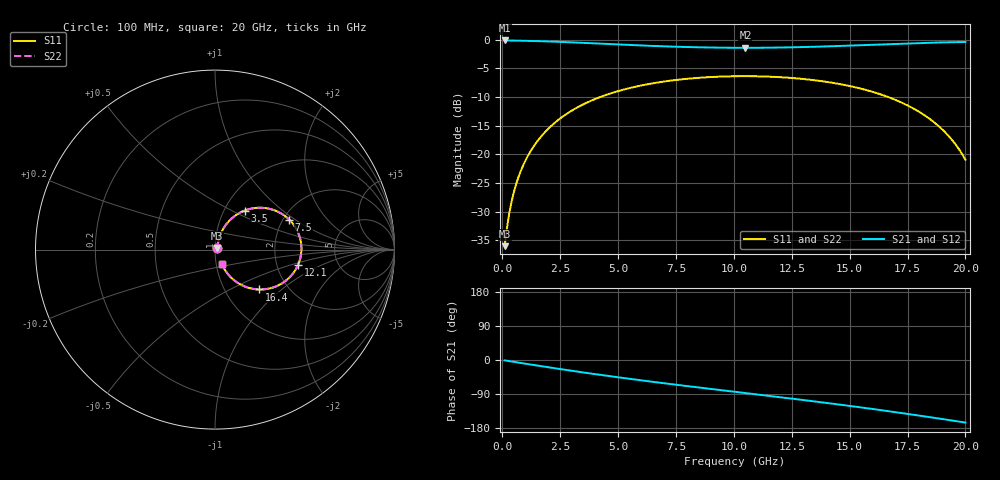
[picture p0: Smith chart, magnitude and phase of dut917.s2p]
! Touchstone file exported from HFSS 2026.1.0
!  File:  C:/ffzhzh/LocalFiles/Ansys_Project_Files/temp_train_TSV_RDL_917_1783278769_5512.aedt
!  Generated:  03:24:52 AM Jul  6, 2026
!  Design:  TSV_RDL
!  Project:  temp_train_TSV_RDL_917_1783278769_5512
! Variables:
!  h_bsmrdl = 2.79um
!  h_ox = 20um
!  h_rdl = 5um
!  h_sub = 92.21um
!  h_tmrdl = 5.35um
!  h_tsv = 92.21um
!  h_via = 3um
!  l_bsmrdl = 102.18um
!  l_sub = 2629.44um
!  l_tmrdl = 458.63um
!  m_sub = 200um
!  pitch = 40.13um
!  r_tsv = 6.35um
!  s_tmrdl = 10um
!  w_bsmrdl = 11.91um
!  w_sub = 500um
!  w_tmrdl = 17.55um
!  x_tsv_center1 = 467.405um
!  x_tsv_center2 = 581.495um
!  x_tsv_center3 = 1057.675um
!  x_tsv_center4 = 1171.765um
!  x_tsv_center5 = 1647.945um
!  x_tsv_center6 = 1762.035um
# GHz S MA R 50.000000
! Terminal data exported
! Port[1] = TM_RDL1_1_T1
! Port[2] = TM_RDL5_1_T1
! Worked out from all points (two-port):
!   200 points, 100 MHz to 20 GHz, reference 50 ohm
!   highest |S21| = -0.11 dB at 100 MHz (marker M1); lowest = -1.4 dB at 10.5 GHz (marker M2)
!   |S21| within 3 dB of the highest: start of sweep to end of sweep
!   lowest |S11| = -36.0 dB at 100 MHz (marker M3), VSWR 1.03, Z = 51.3 + j0.932 ohm
!   |S11| at or under -10 dB: start of sweep to 4.222 GHz; 16.67 GHz to end of sweep
!   |S22| runs from -36.0 to -6.3 dB; largest |S21 - S12| = 3.3e-13
!   S11 on the Smith chart (normalised r, x): 100 MHz: 1.03, +0.02; 3.5 GHz: 1.24, +0.59; 7.5 GHz: 2.16, +0.90; 12.1 GHz: 2.63, -0.57; 16.4 GHz: 1.44, -0.72; 20 GHz: 1.06, -0.17
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0.1  0.01578 35.2  0.9872 -1.0  0.9872 -1.0  0.01578 35.2
! Gamma 0 0 0 0
! Port Impedance 50 0 50 0
0.3  0.03047 60.6  0.9861 -3.0  0.9861 -3.0  0.03047 60.6
0.5  0.04682 67.3  0.9846 -5.0  0.9846 -5.0  0.04682 67.3
0.8  0.07168 70.0  0.9822 -7.9  0.9822 -7.9  0.07168 70.0
1.1  0.09651 69.9  0.9793 -10.8  0.9793 -10.8  0.09651 69.9
1.6  0.1371 67.5  0.9735 -15.5  0.9735 -15.5  0.1371 67.5
2.1  0.1761 63.9  0.9662 -20.2  0.9662 -20.2  0.1761 63.9
3.5  0.2735 52.7  0.9408 -32.9  0.9408 -32.9  0.2735 52.7
5  0.3564 40.7  0.911 -45.6  0.911 -45.6  0.3564 40.7
6.8  0.4268 27.1  0.8798 -59.9  0.8798 -59.9  0.4268 27.1
7.5  0.4461 22.0  0.8703 -65.2  0.8703 -65.2  0.4461 22.0
10.1  0.4811 3.6  0.8518 -84.3  0.8518 -84.3  0.4811 3.6
10.5  0.4816 0.8  0.8515 -87.2  0.8515 -87.2  0.4816 0.8
12.1  0.4706 -10.4  0.8569 -98.9  0.8569 -98.9  0.4706 -10.4
13.4  0.4459 -19.7  0.8687 -108.7  0.8687 -108.7  0.4459 -19.7
15  0.395 -31.5  0.8903 -121.1  0.8903 -121.1  0.395 -31.5
16.4  0.3308 -42.2  0.9129 -132.7  0.9129 -132.7  0.3308 -42.2
16.7  0.3147 -44.5  0.9178 -135.2  0.9178 -135.2  0.3146 -44.5
17.8  0.2485 -52.9  0.9348 -144.9  0.9348 -144.9  0.2484 -52.9
18.7  0.1869 -59.4  0.9465 -153.0  0.9465 -153.0  0.1869 -59.4
19.4  0.1354 -63.5  0.9533 -159.5  0.9533 -159.5  0.1354 -63.5
20  0.08971 -64.7  0.9571 -165.1  0.9571 -165.1  0.08968 -64.7
